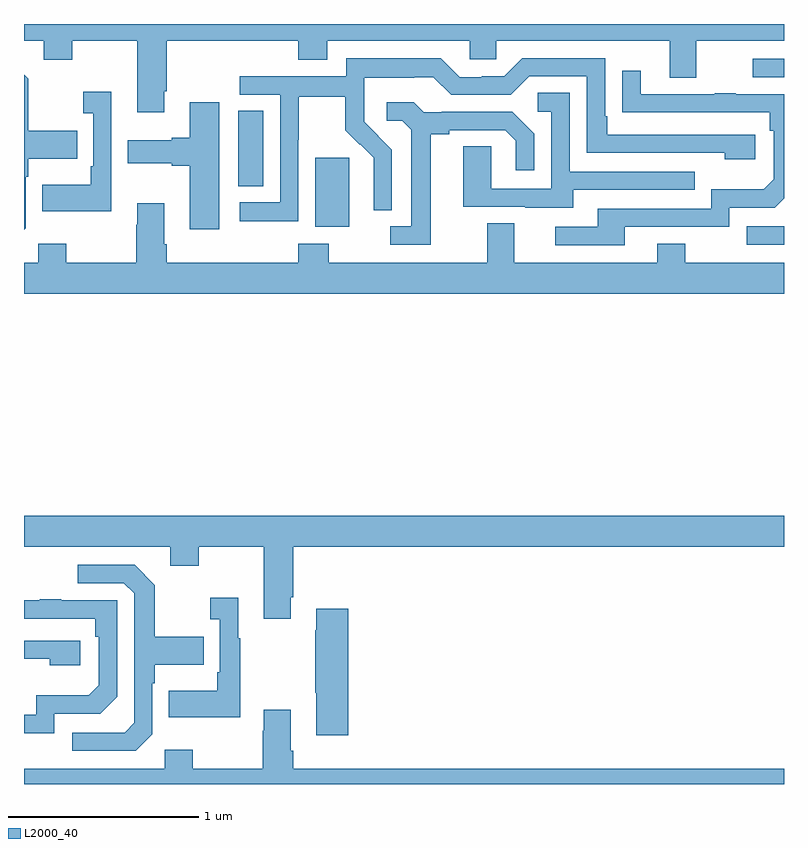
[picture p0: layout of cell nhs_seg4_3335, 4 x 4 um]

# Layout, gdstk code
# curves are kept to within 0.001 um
import gdstk
lib = gdstk.Library(unit=1e-6, precision=1e-09)
def R(c, l, rs):  # rectangles x0, y0, x1, y1
    for r in rs: c.add(gdstk.rectangle(r[:2], r[2:], *l))
def P(c, l, *ps):  # polygons
    for p in ps: c.add(gdstk.Polygon(p, *l))
L2000_40 = (2000, 40)

nhs_seg4_3335 = lib.new_cell('nhs_seg4_3335')
R(nhs_seg4_3335, L2000_40, [(290.805,803.739,291,803.835), (288.533,803.834,288.712,804.195), (288.128,804.046,288.259,804.443), (290.835,804.621,291,804.717)])
P(nhs_seg4_3335, L2000_40, [(287,804.812),(287.105,804.812),(287.105,804.713),(287.253,804.713),(287.253,804.812),(287.597,804.812),(287.597,804.435),(287.737,804.435),(287.737,804.547),(287.75,804.547),(287.75,804.812),(288.443,804.812),(288.443,804.713),(288.595,804.713),(288.595,804.812),(289.347,804.812),(289.347,804.714),(289.485,804.714),(289.485,804.812),(290.399,804.812),(290.399,804.618),(290.539,804.618),(290.539,804.812),(291,804.812),(291,804.9),(287,804.9)],
  [(288.444,804.292),(288.447,804.292),(288.447,804.516),(288.691,804.516),(288.691,804.341),(288.768,804.264),(288.771,804.267),(288.842,804.197),(288.842,804.074),(288.84,804.074),(288.84,803.92),(288.936,803.92),(288.936,804.238),(288.79,804.386),(288.79,804.483),(288.792,804.483),(288.792,804.617),(289.055,804.617),(289.055,804.621),(289.155,804.621),(289.248,804.528),(289.563,804.528),(289.659,804.624),(289.962,804.624),(289.962,804.222),(290.687,804.222),(290.687,804.188),(290.848,804.188),(290.848,804.318),(290.071,804.318),(290.071,804.415),(290.058,804.415),(290.058,804.72),(289.623,804.72),(289.527,804.624),(289.409,804.624),(289.409,804.621),(289.293,804.621),(289.193,804.721),(288.696,804.721),(288.696,804.624),(288.135,804.624),(288.135,804.528),(288.348,804.528),(288.348,803.961),(288.135,803.961),(288.135,803.863),(288.444,803.863)],
  [(290.161,803.832),(290.712,803.832),(290.712,803.934),(290.952,803.934),(291,803.982),(291,804.531),(290.747,804.531),(290.747,804.536),(290.635,804.536),(290.635,804.531),(290.245,804.531),(290.245,804.655),(290.149,804.655),(290.149,804.436),(290.926,804.435),(290.926,804.338),(290.946,804.338),(290.946,804.084),(290.893,804.031),(290.616,804.031),(290.616,803.928),(290.021,803.928),(290.021,803.832),(289.797,803.832),(289.797,803.736),(290.161,803.736)],
  [(287.01,803.826),(287.01,804.095),(287.023,804.095),(287.023,804.191),(287.279,804.191),(287.279,804.339),(287.023,804.339),(287.023,804.611),(287,804.634),(287,803.816)],
  [(287.46,804.544),(287.313,804.544),(287.313,804.431),(287.364,804.431),(287.364,804.151),(287.352,804.151),(287.352,804.055),(287.095,804.055),(287.095,803.915),(287.46,803.915)],
  [(289.891,804.027),(290.531,804.027),(290.531,804.123),(289.872,804.123),(289.872,804.539),(289.704,804.539),(289.704,804.438),(289.776,804.438),(289.776,804.033),(289.458,804.033),(289.458,804.257),(289.313,804.257),(289.313,803.937),(289.637,803.937),(289.637,803.933),(289.891,803.933)],
  [(288.028,804.487),(287.873,804.487),(287.873,804.302),(287.777,804.302),(287.777,804.289),(287.547,804.289),(287.547,804.167),(287.777,804.167),(287.777,804.155),(287.873,804.155),(287.873,803.82),(288.028,803.82)],
  [(289.141,804.32),(289.237,804.32),(289.237,804.342),(289.532,804.342),(289.589,804.285),(289.589,804.129),(289.686,804.129),(289.686,804.322),(289.57,804.438),(289.198,804.438),(289.198,804.435),(289.104,804.435),(289.052,804.487),(288.909,804.487),(288.909,804.39),(288.99,804.39),(289.037,804.343),(289.037,803.835),(288.927,803.835),(288.927,803.739),(289.141,803.739)],
  [(287.597,803.956),(287.597,803.843),(287.59,803.843),(287.59,803.644),(287.223,803.644),(287.223,803.743),(287.076,803.743),(287.076,803.644),(287,803.644),(287,803.48),(291,803.48),(291,803.644),(290.481,803.644),(290.481,803.743),(290.333,803.743),(290.333,803.644),(289.579,803.644),(289.579,803.852),(289.439,803.852),(289.439,803.644),(288.603,803.644),(288.603,803.743),(288.443,803.743),(288.443,803.644),(287.75,803.644),(287.75,803.74),(287.737,803.74),(287.737,803.956)],
  [(288.403,801.883),(288.416,801.883),(288.416,802.148),(291,802.148),(291,802.312),(287,802.312),(287,802.148),(287.771,802.148),(287.771,802.049),(287.919,802.049),(287.919,802.148),(288.263,802.148),(288.263,801.771),(288.403,801.771)],
  [(287.676,801.162),(287.676,801.431),(287.689,801.431),(287.689,801.527),(287.945,801.527),(287.945,801.675),(287.689,801.675),(287.689,801.947),(287.583,802.053),(287.283,802.053),(287.283,801.957),(287.526,801.957),(287.58,801.903),(287.58,801.222),(287.529,801.171),(287.253,801.171),(287.253,801.075),(287.589,801.075)],
  [(288.139,801.667),(288.127,801.667),(288.127,801.88),(287.979,801.88),(287.979,801.767),(288.03,801.767),(288.03,801.487),(288.018,801.487),(288.018,801.391),(287.761,801.391),(287.761,801.251),(288.139,801.251)],
  [(287.16,801.27),(287.4,801.27),(287.49,801.36),(287.49,801.867),(287.195,801.867),(287.195,801.872),(287.083,801.872),(287.083,801.867),(287,801.867),(287,801.771),(287.374,801.771),(287.374,801.674),(287.394,801.674),(287.394,801.42),(287.341,801.367),(287.064,801.367),(287.064,801.264),(287,801.264),(287,801.168),(287.16,801.168)],
  [(288.707,801.823),(288.539,801.823),(288.539,801.71),(288.532,801.71),(288.532,801.379),(288.539,801.379),(288.539,801.156),(288.707,801.156)],
  [(287.296,801.654),(287,801.654),(287,801.558),(287.135,801.558),(287.135,801.524),(287.296,801.524)],
  [(291,800.98),(288.416,800.98),(288.416,801.076),(288.403,801.076),(288.403,801.292),(288.263,801.292),(288.263,801.179),(288.256,801.179),(288.256,800.98),(287.889,800.98),(287.889,801.079),(287.742,801.079),(287.742,800.98),(287,800.98),(287,800.9),(291,800.9)])

lib.write_gds('nhs_seg4_3335.gds')
